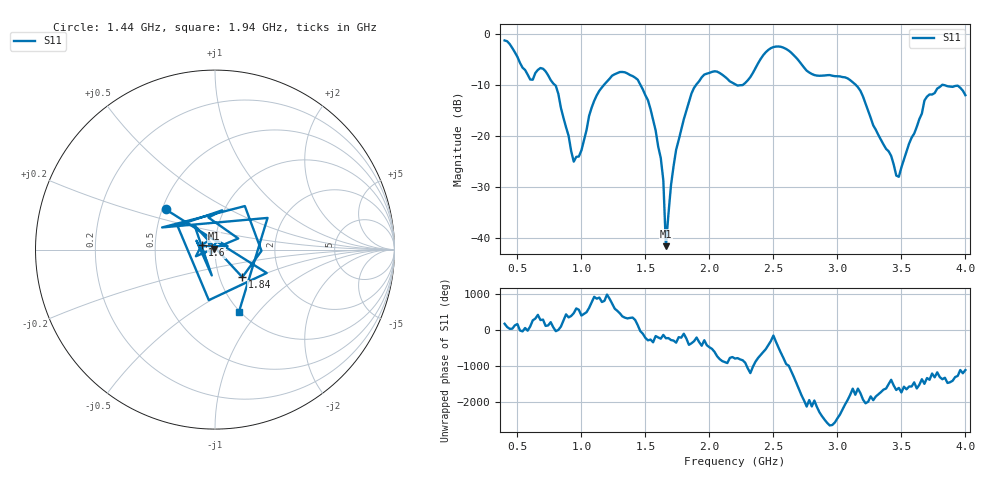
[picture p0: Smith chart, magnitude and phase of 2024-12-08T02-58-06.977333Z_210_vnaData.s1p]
!Created with skrf (http://scikit-rf.org).
# Hz S RI R 50.0
!freq ReS11 ImS11
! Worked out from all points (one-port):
!   181 points, 400 MHz to 4 GHz, reference 50 ohm
!   lowest |S11| = -41.6 dB at 1.66 GHz (marker M1), VSWR 1.02, Z = 49.4 + j0.546 ohm
!   |S11| at or under -10 dB: 790 MHz to 1.178 GHz (387.9 MHz wide, 39.4 % of centre); 1.46 GHz to 1.898 GHz (437.6 MHz wide, 26.1 % of centre); 3.142 GHz to end of sweep (the widest 3 of 4)
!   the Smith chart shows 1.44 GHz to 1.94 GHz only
!   S11 on the Smith chart (normalised r, x): 1.44 GHz: 0.52, +0.27; 1.6 GHz: 0.86, +0.05; 1.84 GHz: 1.28, -0.41; 1.94 GHz: 0.99, -0.80
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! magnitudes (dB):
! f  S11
! 400 MHz  -1.3
! 600 MHz  -9.0
! 720 MHz  -7.4
! 800 MHz  -10.2
! 860 MHz  -16.5
! 940 MHz  -25.1
! 1 GHz  -22.9
! 1.12 GHz  -12.1
! 1.3 GHz  -7.5
! 1.44 GHz  -9.0
! 1.52 GHz  -13.1
! 1.6 GHz  -22.1
! 1.64 GHz  -28.8
! 1.66 GHz  -41.6
! 1.7 GHz  -29.7
! 1.76 GHz  -20.8
! 1.84 GHz  -13.3
! 1.94 GHz  -8.6
! 2.2 GHz  -9.9
! 2.48 GHz  -2.9
! 2.66 GHz  -4.3
! 2.8 GHz  -7.9
! 3.1 GHz  -9.1
! 3.46 GHz  -27.8
! 3.56 GHz  -21.6
! 3.7 GHz  -12.3
! 3.82 GHz  -10.0
! 4 GHz  -12.1
